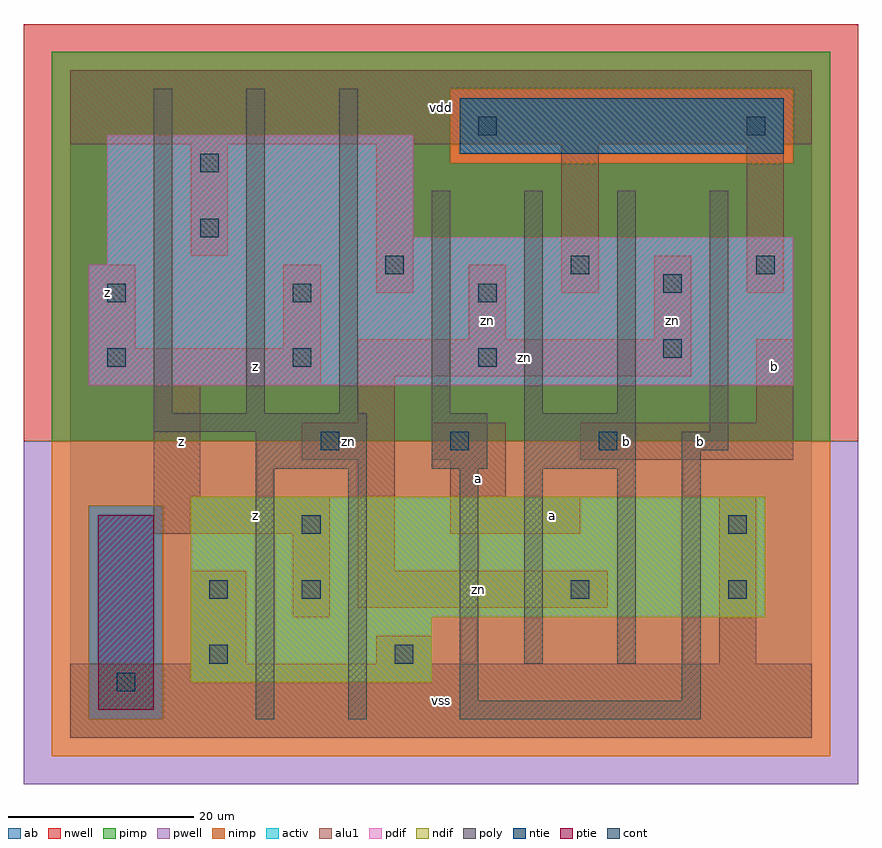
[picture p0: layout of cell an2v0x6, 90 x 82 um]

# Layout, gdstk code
import gdstk
lib = gdstk.Library(unit=1e-6, precision=1e-09)
def R(c, l, rs):  # rectangles x0, y0, x1, y1
    for r in rs: c.add(gdstk.rectangle(r[:2], r[2:], *l))
def A(c, l, x, y, w, h, nx, ny, dx, dy):  # array of equal rectangles
    R(c, l, [(x+i*dx, y+j*dy, x+i*dx+w, y+j*dy+h) for i in range(nx) for j in range(ny)])
ndif = (3, 0)
pdif = (4, 0)
ntie = (5, 0)
ptie = (6, 0)
cont = (25, 0)
pwell = (41, 0)
nwell = (42, 0)
activ = (43, 0)
pimp = (44, 0)
nimp = (45, 0)
poly = (46, 0)
alu1 = (49, 0)
ab = (63, 0)

an2v0x6 = lib.new_cell('an2v0x6')
R(an2v0x6, ndif, [(13,6,39,13), (13,13,75,26)])
R(an2v0x6, pdif, [(2,38,78,51), (4,51,78,54), (4,54,37,65)])
R(an2v0x6, ntie, [(42,63,77,69)])
R(an2v0x6, ptie, [(3,3,9,24)])
A(an2v0x6, cont, 4, 40, 2, 2, 3, 2, 20, 7)
A(an2v0x6, cont, 34, 50, 2, 2, 3, 1, 20, 0)
R(an2v0x6, cont, [(5,5,7,7), (15,8,17,10), (35,8,37,10), (15,15,17,17), (25,15,27,17), (54,15,56,17), (71,15,73,17), (25,22,27,24), (71,22,73,24), (27,31,29,33), (41,31,43,33), (57,31,59,33), (64,41,66,43), (64,48,66,50), (14,54,16,56), (14,61,16,63), (44,65,46,67), (73,65,75,67)])
R(an2v0x6, pwell, [(-5,-5,85,32)])
R(an2v0x6, nwell, [(-5,32,85,77)])
R(an2v0x6, activ, [(3,3,9,24), (13,6,39,13), (13,13,75,26), (2,38,78,51), (4,51,78,54), (4,54,37,65), (42,63,77,69)])
R(an2v0x6, pimp, [(2,2,10,25), (-2,32,82,62), (-2,62,41,70), (78,62,82,70), (-2,70,82,74)])
R(an2v0x6, nimp, [(-2,-2,82,2), (-2,2,2,25), (10,2,82,25), (-2,25,82,32), (41,62,78,70)])
A(an2v0x6, poly, 9, 35, 2, 35, 3, 1, 10, 0)
A(an2v0x6, poly, 39, 35, 2, 24, 3, 1, 10, 0)
R(an2v0x6, poly, [(20,2,22,29), (30,2,32,29), (42,2,68,4), (42,4,44,29), (66,4,68,31), (49,8,51,29), (59,8,61,29), (20,29,32,33), (39,29,45,35), (49,29,61,35), (66,31,71,33), (9,33,32,35), (69,33,71,59)])
A(an2v0x6, alu1, 33, 48, 4, 16, 3, 1, 20, 0)
R(an2v0x6, alu1, [(0,0,80,8), (13,8,19,18), (33,8,39,11), (70,8,74,26), (24,13,28,22), (31,14,58,18), (31,18,35,30), (9,22,28,26), (41,22,55,26), (9,26,14,38), (41,26,47,30), (25,30,35,34), (39,30,47,34), (55,30,78,34), (31,34,35,39), (74,34,78,43), (2,38,27,42), (31,39,67,43), (2,42,7,51), (23,42,27,51), (43,43,47,51), (63,43,67,52), (13,52,17,64), (0,64,80,72)])
R(an2v0x6, ab, [(0,0,80,72)])
an2v0x6.add(gdstk.Label('zn', (30,32), layer=49, texttype=0))
an2v0x6.add(gdstk.Label('zn', (44,16), layer=49, texttype=0))
an2v0x6.add(gdstk.Label('zn', (45,45), layer=49, texttype=0))
an2v0x6.add(gdstk.Label('zn', (49,41), layer=49, texttype=0))
an2v0x6.add(gdstk.Label('zn', (65,45), layer=49, texttype=0))
an2v0x6.add(gdstk.Label('z', (12,32), layer=49, texttype=0))
an2v0x6.add(gdstk.Label('z', (4,48), layer=49, texttype=0))
an2v0x6.add(gdstk.Label('z', (20,24), layer=49, texttype=0))
an2v0x6.add(gdstk.Label('z', (20,40), layer=49, texttype=0))
an2v0x6.add(gdstk.Label('vss', (40,4), layer=49, texttype=0))
an2v0x6.add(gdstk.Label('a', (44,28), layer=49, texttype=0))
an2v0x6.add(gdstk.Label('a', (52,24), layer=49, texttype=0))
an2v0x6.add(gdstk.Label('vdd', (40,68), layer=49, texttype=0))
an2v0x6.add(gdstk.Label('b', (60,32), layer=49, texttype=0))
an2v0x6.add(gdstk.Label('b', (68,32), layer=49, texttype=0))
an2v0x6.add(gdstk.Label('b', (76,40), layer=49, texttype=0))

lib.write_gds('an2v0x6.gds')
